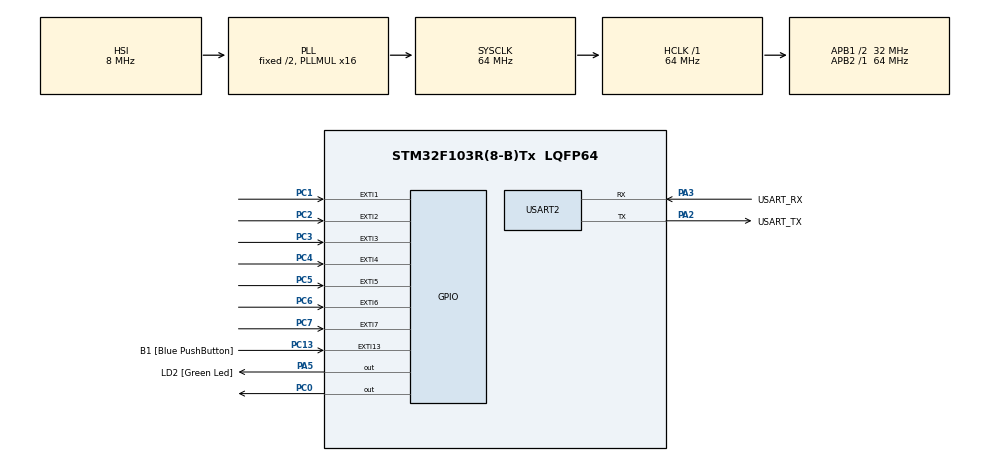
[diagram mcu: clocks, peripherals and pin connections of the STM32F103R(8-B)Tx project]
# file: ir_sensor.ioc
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Mcu.Family=STM32F1
Mcu.Name=STM32F103R(8-B)Tx
Mcu.Package=LQFP64
NVIC.EXTI1_IRQn=true\:0\:0\:false\:false\:true\:true\:true\:true
NVIC.EXTI2_IRQn=true\:0\:0\:false\:false\:true\:true\:true\:true
NVIC.EXTI3_IRQn=true\:0\:0\:false\:false\:true\:true\:true\:true
NVIC.EXTI4_IRQn=true\:0\:0\:false\:false\:true\:true\:true\:true
NVIC.EXTI9_5_IRQn=true\:0\:0\:false\:false\:true\:true\:true\:true
NVIC.PriorityGroup=NVIC_PRIORITYGROUP_4
PA13.GPIO_Label=TMS
PA13.Mode=Serial_Wire
PA13.Signal=SYS_JTMS-SWDIO
PA14.GPIO_Label=TCK
PA14.Mode=Serial_Wire
PA14.Signal=SYS_JTCK-SWCLK
PA2.GPIO_Label=USART_TX
PA2.GPIO_Mode=GPIO_MODE_AF_PP
PA2.GPIO_PuPd=GPIO_NOPULL
PA2.GPIO_Speed=GPIO_SPEED_FREQ_LOW
PA2.Mode=Asynchronous
PA2.Signal=USART2_TX
PA3.GPIO_Label=USART_RX
PA3.GPIO_Mode=GPIO_MODE_AF_PP
PA3.GPIO_PuPd=GPIO_NOPULL
PA3.GPIO_Speed=GPIO_SPEED_FREQ_LOW
PA3.Mode=Asynchronous
PA3.Signal=USART2_RX
PA5.GPIO_Label=LD2 [Green Led]
PA5.GPIO_ModeDefaultOutputPP=GPIO_MODE_OUTPUT_PP
PA5.GPIO_PuPd=GPIO_NOPULL
PA5.GPIO_Speed=GPIO_SPEED_FREQ_LOW
PA5.Signal=GPIO_Output
PB3.GPIO_Label=SWO
PB3.Signal=SYS_JTDO-TRACESWO
PC0.Signal=GPIO_Output
PC1.GPIO_ModeDefaultEXTI=GPIO_MODE_IT_RISING
PC1.GPIO_PuPd=GPIO_NOPULL
PC1.Signal=GPXTI1
PC13-TAMPER-RTC.GPIO_Label=B1 [Blue PushButton]
PC13-TAMPER-RTC.GPIO_PuPd=GPIO_NOPULL
PC13-TAMPER-RTC.Signal=GPXTI13
PC14-OSC32_IN.Mode=LSE-External-Oscillator
PC14-OSC32_IN.Signal=RCC_OSC32_IN
PC15-OSC32_OUT.Mode=LSE-External-Oscillator
PC15-OSC32_OUT.Signal=RCC_OSC32_OUT
PC2.Signal=GPXTI2
PC3.Signal=GPXTI3
PC4.Signal=GPXTI4
PC5.Signal=GPXTI5
PC6.Signal=GPXTI6
PC7.Signal=GPXTI7
PD0-OSC_IN.Mode=HSE-External-Clock-Source
PD0-OSC_IN.Signal=RCC_OSC_IN
PD1-OSC_OUT.Mode=HSE-External-Clock-Source
PD1-OSC_OUT.Signal=RCC_OSC_OUT
ProjectManager.HeapSize=0x200
ProjectManager.StackSize=0x400
ProjectManager.TargetToolchain=STM32CubeIDE
RCC.AHBFreq_Value=64000000
RCC.APB1CLKDivider=RCC_HCLK_DIV2
RCC.APB1Freq_Value=32000000
RCC.APB1TimFreq_Value=64000000
RCC.APB2Freq_Value=64000000
RCC.APB2TimFreq_Value=64000000
RCC.HCLKFreq_Value=64000000
RCC.PLLMUL=RCC_PLL_MUL16
RCC.RTCClockSelection=RCC_RTCCLKSOURCE_LSE
RCC.SYSCLKFreq_VALUE=64000000
RCC.SYSCLKSource=RCC_SYSCLKSOURCE_PLLCLK
RCC.USBFreq_Value=64000000
USART2.VirtualMode=VM_ASYNC
board=NUCLEO-F103RB

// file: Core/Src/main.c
/* USER CODE BEGIN Header */
/**
  ******************************************************************************
  * @file           : main.c
  * @brief          : Test program for IR sensor alignment
  ******************************************************************************
  * @attention
  *
  * Copyright (c) 2024 STMicroelectronics.
  * All rights reserved.
  *
  * This software is licensed under terms that can be found in the LICENSE file
  * in the root directory of this software component.
  * If no LICENSE file comes with this software, it is provided AS-IS.
  *
  ******************************************************************************
  */
/* USER CODE END Header */
#include "main.h"
#include "usart.h"
#include "gpio.h"

/* USER CODE BEGIN PD */
#define OBJECT_DETECTION_TIMEOUT 500  // Timeout period for object detection (in ms)
#define PULSE_INTERVAL 100            // Interval for pulse transmission (in ms)
#define NUM_SENSORS 6                 // Number of sensors
/* USER CODE END PD */

/* USER CODE BEGIN PV */
uint32_t last_pulse_received_time[NUM_SENSORS] = {0}; // Tracks the last pulse time for each sensor
volatile int ir_flag = 0; // Flag to indicate object detection
const uint16_t pulse_pins[NUM_SENSORS] = {GPIO_PIN_1, GPIO_PIN_3, GPIO_PIN_4, GPIO_PIN_5, GPIO_PIN_6, GPIO_PIN_7};
uint32_t interrupt_counters[NUM_SENSORS] = {0}; // Tracks the number of interrupts for each sensor
uint32_t last_pulse_received_time_1 = 0;  // Time for last pulse reception
uint32_t last_pulse_received_time_2 = 0;  // Time for last pulse reception
uint32_t last_pulse_received_time_3 = 0;  // Time for last pulse reception
uint32_t last_pulse_received_time_4 = 0;  // Time for last pulse reception
uint32_t last_pulse_received_time_5 = 0;  // Time for last pulse reception
uint32_t last_pulse_received_time_6 = 0;  // Time for last pulse reception
volatile int object_present;
/* USER CODE END PV */

void SystemClock_Config(void);

/* USER CODE BEGIN 0 */

/**
 * @brief Function to check object detection using IR sensors.
 * @retval int - Returns 1 if an object is detected, 0 otherwise.
 */
int CheckObjectDetection(void) {
    static uint32_t last_pulse_time = 0;

    // Generate a pulse every PULSE_INTERVAL (100 ms)
    if (HAL_GetTick() - last_pulse_time >= PULSE_INTERVAL) {
        last_pulse_time = HAL_GetTick();
        HAL_GPIO_TogglePin(GPIOC, GPIO_PIN_0); // Generate a pulse on GPIOC PIN_0
    }

    // Check if any sensor has timed out
    ir_flag = 0; // Assume no object is present
	if (HAL_GetTick() - last_pulse_received_time_1 >= OBJECT_DETECTION_TIMEOUT) {
		ir_flag = 1;  // Object detected
		        // No need to check further if one sensor times out
	}
	if (HAL_GetTick() - last_pulse_received_time_2 >= OBJECT_DETECTION_TIMEOUT) {
		ir_flag = 1;  // Object detected
		        // No need to check further if one sensor times out
	}
	if (HAL_GetTick() - last_pulse_received_time_3 >= OBJECT_DETECTION_TIMEOUT) {
		ir_flag = 1;  // Object detected
		        // No need to check further if one sensor times out
	}
	if (HAL_GetTick() - last_pulse_received_time_4 >= OBJECT_DETECTION_TIMEOUT) {
		ir_flag = 1;  // Object detected
		        // No need to check further if one sensor times out
	}
	if (HAL_GetTick() - last_pulse_received_time_5 >= OBJECT_DETECTION_TIMEOUT) {
		ir_flag = 1;  // Object detected
		        // No need to check further if one sensor times out
	}
	if (HAL_GetTick() - last_pulse_received_time_6 >= OBJECT_DETECTION_TIMEOUT) {
		ir_flag = 1;  // Object detected
		        // No need to check further if one sensor times out
	}
    return ir_flag; // Return detection flag
}

/**
 * @brief GPIO EXTI Callback function for handling sensor interrupts.
 * @param GPIO_Pin - Pin number that triggered the interrupt.
 */
void HAL_GPIO_EXTI_Callback(uint16_t GPIO_Pin) {
    /*for (int i = 0; i < NUM_SENSORS; i++) {
        if (GPIO_Pin == pulse_pins[i]) {
            last_pulse_received_time[i] = HAL_GetTick(); // Update the pulse received time
            interrupt_counters[i]++; // Increment the interrupt counter for the corresponding sensor
            return; // Exit once the correct sensor is updated
        }
    }*/
	if(GPIO_Pin == GPIO_PIN_1){
		last_pulse_received_time_1 = HAL_GetTick();
		interrupt_counters[1]++;
	}
	if(GPIO_Pin == GPIO_PIN_3){
		last_pulse_received_time_2 = HAL_GetTick();
		interrupt_counters[2]++;
	}
	if(GPIO_Pin == GPIO_PIN_4){
		last_pulse_received_time_3 = HAL_GetTick();
		interrupt_counters[3]++;
	}
	if(GPIO_Pin == GPIO_PIN_5){
		last_pulse_received_time_4 = HAL_GetTick();
		interrupt_counters[4]++;
	}
	if(GPIO_Pin == GPIO_PIN_6){
		last_pulse_received_time_5 = HAL_GetTick();
		interrupt_counters[5]++;
	}
	if(GPIO_Pin == GPIO_PIN_7){
		last_pulse_received_time_6 = HAL_GetTick();
		interrupt_counters[6]++;
	}

}

/* USER CODE END 0 */

int main(void)
{

  /* MCU Configuration--------------------------------------------------------*/

  /* Reset of all peripherals, Initializes the Flash interface and the Systick. */
  HAL_Init();

  /* Configure the system clock */
  SystemClock_Config();

  /* Initialize all configured peripherals */
  MX_GPIO_Init();
  MX_USART2_UART_Init();
  /* USER CODE BEGIN 2 */
  HAL_GPIO_WritePin(GPIOC, GPIO_PIN_0, GPIO_PIN_RESET); // Ensure PC0 starts low
  /* USER CODE END 2 */

  /* Infinite loop */
  /* USER CODE BEGIN WHILE */
  while (1)
  {
      object_present = CheckObjectDetection();

      // Provide feedback based on object detection
      if (object_present) {
          HAL_GPIO_WritePin(GPIOA, GPIO_PIN_5, GPIO_PIN_SET); // Turn on LED (PB7) if object detected
      } else {
          HAL_GPIO_WritePin(GPIOA, GPIO_PIN_5, GPIO_PIN_RESET); // Turn off LED if no object detected
      }

      HAL_Delay(200); // Delay for ease of observation
    /* USER CODE END WHILE */

  }
}

void SystemClock_Config(void)
{
  RCC_OscInitTypeDef RCC_OscInitStruct = {0};
  RCC_ClkInitTypeDef RCC_ClkInitStruct = {0};

  /** Initializes the RCC Oscillators according to the specified parameters
  * in the RCC_OscInitTypeDef structure.
  */
  RCC_OscInitStruct.OscillatorType = RCC_OSCILLATORTYPE_HSI;
  RCC_OscInitStruct.HSIState = RCC_HSI_ON;
  RCC_OscInitStruct.HSICalibrationValue = RCC_HSICALIBRATION_DEFAULT;
  RCC_OscInitStruct.PLL.PLLState = RCC_PLL_ON;
  RCC_OscInitStruct.PLL.PLLSource = RCC_PLLSOURCE_HSI_DIV2;
  RCC_OscInitStruct.PLL.PLLMUL = RCC_PLL_MUL16;
  if (HAL_RCC_OscConfig(&RCC_OscInitStruct) != HAL_OK)
  {
    Error_Handler();
  }

  /** Initializes the CPU, AHB and APB buses clocks
  */
  RCC_ClkInitStruct.ClockType = RCC_CLOCKTYPE_HCLK|RCC_CLOCKTYPE_SYSCLK
                              |RCC_CLOCKTYPE_PCLK1|RCC_CLOCKTYPE_PCLK2;
  RCC_ClkInitStruct.SYSCLKSource = RCC_SYSCLKSOURCE_PLLCLK;
  RCC_ClkInitStruct.AHBCLKDivider = RCC_SYSCLK_DIV1;
  RCC_ClkInitStruct.APB1CLKDivider = RCC_HCLK_DIV2;
  RCC_ClkInitStruct.APB2CLKDivider = RCC_HCLK_DIV1;

  if (HAL_RCC_ClockConfig(&RCC_ClkInitStruct, FLASH_LATENCY_2) != HAL_OK)
  {
    Error_Handler();
  }
}

/* USER CODE BEGIN 4 */

/**
 * @brief Error Handler function to toggle an LED in case of failure.
 */

/* USER CODE END 4 */

void Error_Handler(void)
{
  /* USER CODE BEGIN Error_Handler_Debug */
  /* User can add his own implementation to report the HAL error return state */
  __disable_irq();
  while (1) {
      HAL_GPIO_TogglePin(GPIOB, GPIO_PIN_7); // Indicate error on LED
      HAL_Delay(500); // Blink every 500 ms
  }
  /* USER CODE END Error_Handler_Debug */
}
